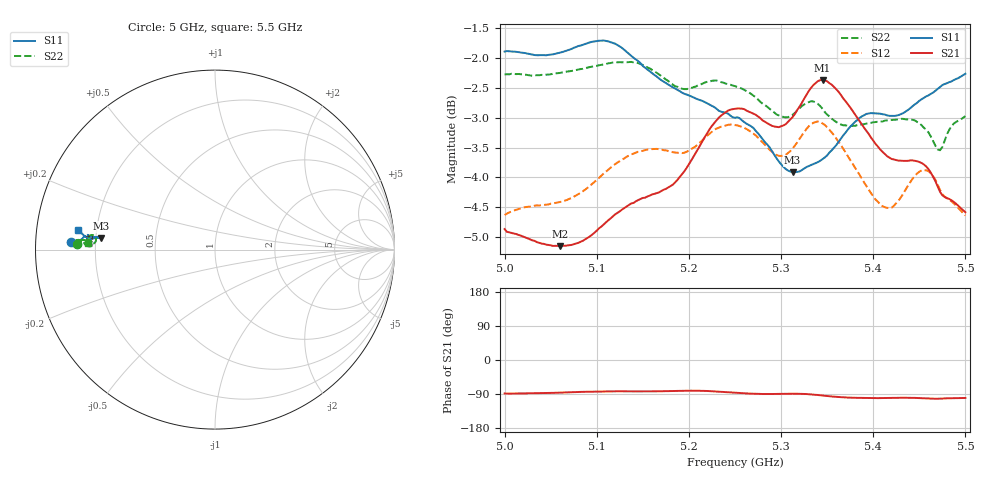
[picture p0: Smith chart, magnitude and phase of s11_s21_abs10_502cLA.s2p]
! MS46122B
! 1919307/90821646
! 6/10/2022 12:15:24 PM
! C:\USERS\PC_\DESKTOP\CARACTERIZACION\MEDICIONES\BANCHA ESTRECHA\5_55GHZ\S11_S21_ABS10_502CL.S2P
! CHANNEL.1
! TR.MEASUREMENT
! CORRECTED.DATA
# GHZ S RI R 50.0
! FREQ.GHZ  S11RE  S11IM  S21RE  S21IM  S12RE  S12IM  S22RE  S22IM
!; PortSelection: Port_12
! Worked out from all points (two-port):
!   201 points, 5 GHz to 5.5 GHz, reference 50 ohm
!   highest |S21| = -2.37 dB at 5.345 GHz (marker M1); lowest = -5.2 dB at 5.06 GHz (marker M2)
!   |S21| within 3 dB of the highest: start of sweep to end of sweep
!   lowest |S11| = -3.9 dB at 5.312 GHz (marker M3), VSWR 4.51, Z = 11.1 + j2.36 ohm
!   |S11| at or under -10 dB: nowhere
!   |S22| runs from -3.5 to -2.1 dB; largest |S21 - S12| = 0.084
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5  -0.8029 0.0427  0.0167 -0.571  0.0736 -0.5822  -0.7686 0.0337
5.06  -0.8007 0.0514  0.0375 -0.5514  0.0756 -0.597  -0.7711 0.0273
5.085  -0.8132 0.0472  0.0583 -0.5555  0.0831 -0.6086  -0.7767 0.0388
5.12  -0.8155 0.0338  0.0758 -0.5828  0.0804 -0.6423  -0.7862 0.0484
5.1675  -0.7624 0.0388  0.0797 -0.6078  0.0467 -0.6645  -0.7676 0.0539
5.1925  -0.7403 0.0602  0.0975 -0.6273  0.0417 -0.6599  -0.7469 0.0489
5.215  -0.7271 0.0741  0.1017 -0.6696  0.043 -0.6769  -0.7551 0.0385
5.25  -0.7053 0.0583  0.0444 -0.7186  -0.00119 -0.6977  -0.7505 0.0502
5.28  -0.6763 0.0622  0.00336 -0.7041  -0.0324 -0.6742  -0.7252 0.0526
5.2975  -0.6475 0.0647  0.0063 -0.695  -0.023 -0.6574  -0.7098 0.0412
5.3125  -0.6342 0.0633  0.0125 -0.7086  -0.0106 -0.6672  -0.7111 0.0287
5.335  -0.6437 0.0699  -0.0153 -0.7535  -0.0355 -0.7  -0.729 0.0441
5.345  -0.6497 0.0711  -0.0494 -0.7595  -0.0609 -0.6974  -0.718 0.0545
5.3725  -0.6883 0.0712  -0.1151 -0.7173  -0.0963 -0.65  -0.6956 0.0418
5.39  -0.7067 0.0795  -0.1238 -0.6833  -0.0923 -0.6182  -0.6978 0.041
5.4175  -0.706 0.0791  -0.1154 -0.6453  -0.0521 -0.5926  -0.7021 0.0554
5.435  -0.7127 0.0703  -0.109 -0.6423  -0.0312 -0.6154  -0.7024 0.0677
5.455  -0.7312 0.0794  -0.1232 -0.635  -0.0544 -0.6376  -0.6895 0.0809
5.465  -0.7378 0.0866  -0.1315 -0.6178  -0.0745 -0.6279  -0.6724 0.0765
5.4725  -0.7452 0.0923  -0.1276 -0.6003  -0.0789 -0.6107  -0.663 0.0503
5.48  -0.7498 0.1001  -0.1166 -0.5949  -0.0726 -0.602  -0.6847 0.0313
5.5  -0.7627 0.1078  -0.1044 -0.5807  -0.0618 -0.5831  -0.7089 0.039
